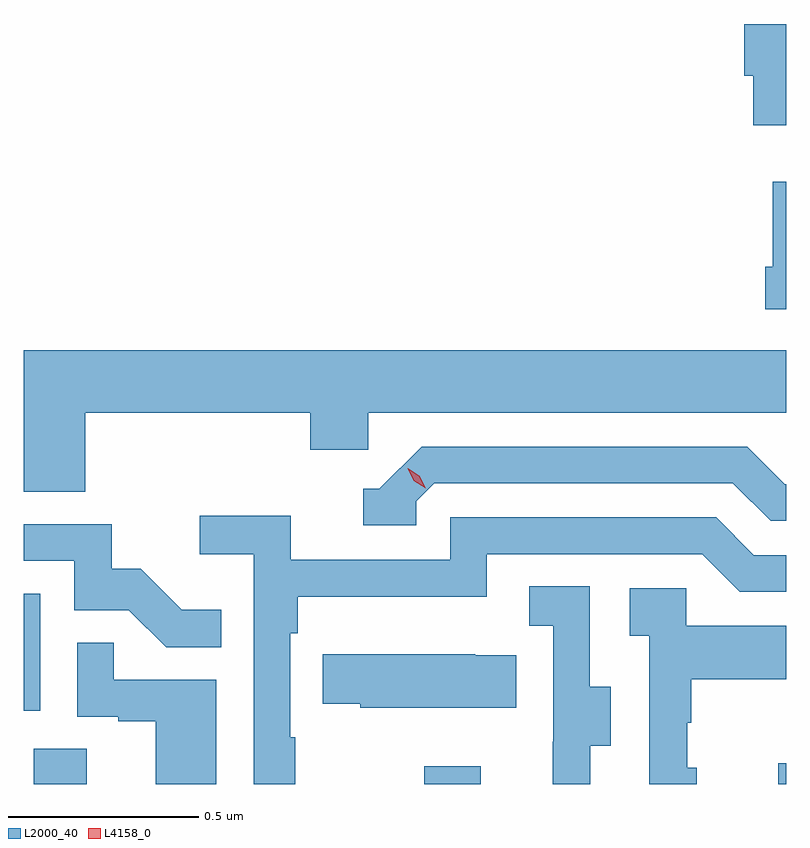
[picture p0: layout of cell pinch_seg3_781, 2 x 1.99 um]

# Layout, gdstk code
import gdstk
lib = gdstk.Library(unit=1e-6, precision=1e-09)
def R(c, l, rs):  # rectangles x0, y0, x1, y1
    for r in rs: c.add(gdstk.rectangle(r[:2], r[2:], *l))
def P(c, l, *ps):  # polygons
    for p in ps: c.add(gdstk.Polygon(p, *l))
L2000_40 = (2000, 40)
L4158_0 = (4158, 0)

pinch_seg3_781 = lib.new_cell('pinch_seg3_781')
R(pinch_seg3_781, L2000_40, [(817.703,734.574,817.843,734.666), (818.728,734.574,818.875,734.62), (819.656,734.574,819.677,734.629), (817.677,734.766,817.72,735.073)])
P(pinch_seg3_781, L2000_40, [(819.677,736.567),(819.566,736.567),(819.566,736.431),(819.59,736.431),(819.59,736.301),(819.677,736.301)],
  [(819.677,736.153),(819.642,736.153),(819.642,735.931),(819.622,735.931),(819.622,735.819),(819.677,735.819)],
  [(817.838,735.548),(818.429,735.548),(818.429,735.45),(818.58,735.45),(818.58,735.548),(819.677,735.548),(819.677,735.712),(817.677,735.712),(817.677,735.34),(817.838,735.34)],
  [(818.706,735.315),(818.754,735.363),(819.537,735.363),(819.636,735.264),(819.677,735.264),(819.677,735.36),(819.673,735.36),(819.574,735.459),(818.721,735.459),(818.61,735.348),(818.567,735.348),(818.567,735.252),(818.706,735.252)],
  [(818.389,734.696),(818.376,734.696),(818.376,734.969),(818.396,734.969),(818.396,735.065),(818.892,735.065),(818.892,735.177),(819.456,735.177),(819.555,735.078),(819.677,735.078),(819.677,735.174),(819.592,735.174),(819.493,735.273),(818.796,735.273),(818.796,735.162),(818.378,735.162),(818.378,735.278),(818.139,735.278),(818.139,735.176),(818.28,735.176),(818.28,734.574),(818.389,734.574)],
  [(818.195,735.031),(818.091,735.031),(817.984,735.138),(817.908,735.138),(817.908,735.255),(817.677,735.255),(817.677,735.159),(817.809,735.159),(817.809,735.03),(817.953,735.03),(818.051,734.932),(818.195,734.932)],
  [(819.163,734.674),(819.217,734.674),(819.217,734.829),(819.162,734.829),(819.162,735.092),(819.003,735.092),(819.003,734.989),(819.066,734.989),(819.066,734.685),(819.065,734.685),(819.065,734.574),(819.163,734.574)],
  [(819.442,734.616),(819.417,734.616),(819.417,734.735),(819.427,734.735),(819.427,734.849),(819.677,734.849),(819.677,734.989),(819.414,734.989),(819.414,735.087),(819.267,735.087),(819.267,734.963),(819.318,734.963),(819.318,734.574),(819.442,734.574)],
  [(818.182,734.847),(817.913,734.847),(817.913,734.945),(817.818,734.945),(817.818,734.751),(817.925,734.751),(817.925,734.739),(818.024,734.739),(818.024,734.574),(818.182,734.574)],
  [(818.969,734.911),(818.861,734.911),(818.861,734.914),(818.461,734.914),(818.461,734.785),(818.559,734.785),(818.559,734.774),(818.969,734.774)])
P(pinch_seg3_781, L4158_0, [(818.731,735.35),(818.7,735.369),(818.684,735.402),(818.684,735.402),(818.684,735.402),(818.715,735.383),(818.731,735.35),(818.731,735.35)])

lib.write_gds('pinch_seg3_781.gds')
